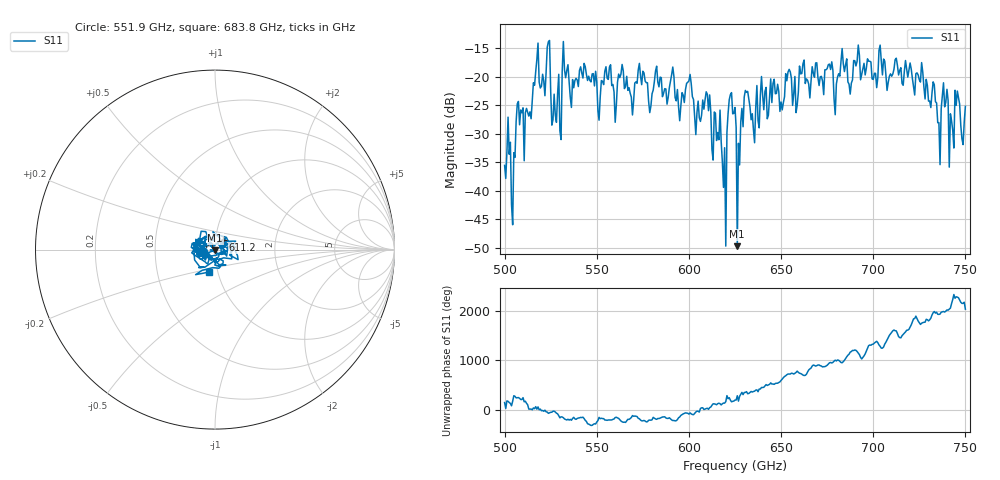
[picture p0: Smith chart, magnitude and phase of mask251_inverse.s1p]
!Created with skrf (http://scikit-rf.org).
# GHz S MA R 50.0
!freq magS11 angS11
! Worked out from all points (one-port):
!   401 points, 500 GHz to 750 GHz, reference 50 ohm
!   lowest |S11| = -49.7 dB at 626.2 GHz (marker M1), VSWR 1.01, Z = 50.1 - j0.307 ohm
!   |S11| at or under -10 dB: start of sweep to end of sweep
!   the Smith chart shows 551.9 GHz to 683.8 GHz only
!   S11 on the Smith chart (normalised r, x): 551.9 GHz: 0.88, -0.02; 611.2 GHz: 1.08, +0.12; 683.8 GHz: 0.91, -0.23
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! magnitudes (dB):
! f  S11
! 500 GHz  -35.6
! 504.4 GHz  -46.0
! 507.5 GHz  -24.3
! 511.9 GHz  -25.6
! 516.9 GHz  -19.1
! 523.8 GHz  -13.9
! 526.9 GHz  -23.1
! 531.2 GHz  -19.0
! 533.1 GHz  -20.2
! 551.9 GHz  -23.6
! 562.5 GHz  -20.2
! 593.8 GHz  -22.3
! 611.2 GHz  -23.2
! 618.8 GHz  -39.4
! 622.5 GHz  -23.1
! 625 GHz  -25.4
! 626.2 GHz  -49.7
! 631.2 GHz  -22.7
! 635 GHz  -29.3
! 656.2 GHz  -25.0
! 683.8 GHz  -17.7
! 687.5 GHz  -23.1
! 718.8 GHz  -20.1
! 735.6 GHz  -28.1
! 739.4 GHz  -24.5
! 742.5 GHz  -27.8
! 745.6 GHz  -22.5
! 750 GHz  -25.2
